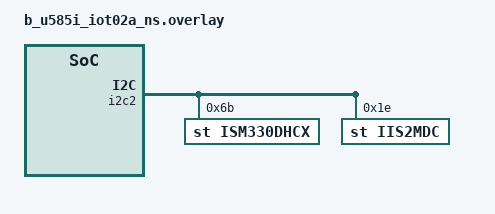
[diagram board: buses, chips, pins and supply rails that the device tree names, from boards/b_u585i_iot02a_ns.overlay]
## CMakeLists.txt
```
#
# Copyright (c) 2021-2023 Linaro Limited
#
# SPDX-License-Identifier: Apache-2.0
#

cmake_minimum_required(VERSION 3.20.0)

# Disable QEMU emulation of the LSM303DLHC magn for now since it requires a specific QEMU build
# if((BOARD MATCHES "mps2_an521") OR (BOARD MATCHES "mps3_an547"))
#   list(APPEND QEMU_EXTRA_FLAGS -device lsm303dlhc_mag,id=lsm303,address=0x1E)
# endif()

find_package(Zephyr REQUIRED HINTS $ENV{ZEPHYR_BASE})

get_target_property(TFM_BINARY_DIR tfm TFM_BINARY_DIR)
set(APP_SOURCE_DIR ${APPLICATION_SOURCE_DIR})
configure_file(
  ${CMAKE_CURRENT_LIST_DIR}/tfm_secure_partitions/tfm_manifest_list.yaml.in
  ${CMAKE_CURRENT_BINARY_DIR}/tfm_secure_partitions/tfm_manifest_list.yaml
  @ONLY
)

set_property(TARGET zephyr_property_target
  APPEND PROPERTY TFM_CMAKE_OPTIONS
  -DTFM_EXTRA_MANIFEST_LIST_FILES=${CMAKE_CURRENT_BINARY_DIR}/tfm_secure_partitions/tfm_manifest_list.yaml
  -DTFM_EXTRA_PARTITION_PATHS=${CMAKE_CURRENT_LIST_DIR}/tfm_secure_partitions
  )

if(${CONFIG_NV_PS_COUNTERS_SUPPORT})
    set_property(TARGET zephyr_property_target
        APPEND PROPERTY TFM_CMAKE_OPTIONS
        -DNV_PS_COUNTERS_SUPPORT=ON -DNV_COUNTER_TRACKER_THRESHOLD_LIMIT=${CONFIG_NV_COUNTER_TRACKER_THRESHOLD_LIMIT} -DTFM_ENABLE_HEAP=ON
        )
endif()

project(tfm_secure_inference)

list(APPEND secure_app_files
  src/cose/cose_verify.c
  src/cose/mbedtls_ecdsa_verify_sign.c
  src/shell/cmd_azure.c
  src/shell/cmd_infer.c
  src/shell/cmd_info.c
  src/shell/cmd_keys.c
  src/shell/shell_common.c
  src/infer_mgmt.c
  src/key_mgmt.c
  src/main.c
  src/certmgr/provision.c
  src/certmgr/test_certs.c
  src/tfm_partition_huk.c
  src/tfm_partition_tflm.c
  src/tfm_partition_utvm.c
  src/util_app_log.c
  src/x509_csr_gen.c
  ext/NanoCBOR/src/decoder.c
  ext/NanoCBOR/src/encoder.c
  src/device_client_tls_key.c
  src/tfm_partition_aat.c
)

if(CONFIG_APP_NETWORKING)
  list(APPEND secure_app_files
    src/azure.c
    src/certmgr/bootstrap.c
    src/network/dhcpwait.c
    src/network/sntp_client.c
    src/network/netmon_mgmt.c
    src/network/netmon_stats.c
    src/certmgr/cert_mgmt.c
  )
endif()

target_sources(app PRIVATE ${secure_app_files})

target_include_directories(app PRIVATE
  ${ZEPHYR_TRUSTED_FIRMWARE_M_MODULE_DIR}/interface/include
  ext/NanoCBOR/include
  include
)

target_compile_definitions(app PRIVATE
  TFM_PARTITION_HUK_KEY_DERIVATION
  TFM_PARTITION_TFLM_SERVICE
  TFM_PARTITION_UTVM_SERVICE
  TFM_PARTITION_AAT_SERVICE
  NANOCBOR_BYTEORDER_HEADER=<zephyr/sys/byteorder.h>
  NANOCBOR_BE64TOH_FUNC=sys_be64_to_cpu
  NANOCBOR_HTOBE64_FUNC=sys_cpu_to_be64
  NANOCBOR_HTOBE32_FUNC=sys_cpu_to_be32
)

# In TF-M, default value of CRYPTO_ENGINE_BUF_SIZE is 0x2080. It causes
# insufficient memory failure while verifying signature. Increase it to 0x2400.
set_property(TARGET zephyr_property_target
             APPEND PROPERTY TFM_CMAKE_OPTIONS
             -DCRYPTO_ENGINE_BUF_SIZE=0x2400
)

# Since the MPS2/MPS3 boards in TF-M use a hard-coded HUK value, we need to
# append a custom label value during key derivation for unique key(s). This
# value is exposed here as a convenience so that west can pass it on to TF-M,
# but is only used in the secure partition(s).
if (CONFIG_SECURE_INFER_HUK_DERIV_LABEL_EXTRA)
  set_property(TARGET zephyr_property_target
              APPEND PROPERTY TFM_CMAKE_OPTIONS
              -DHUK_DERIV_LABEL_EXTRA=${CONFIG_SECURE_INFER_HUK_DERIV_LABEL_EXTRA}
  )
endif()

zephyr_include_directories(${APPLICATION_SOURCE_DIR}/src/tls_config)
```

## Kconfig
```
# Private config options for TF-M secure provisioning application

# Copyright (c) 2021 Linaro
# SPDX-License-Identifier: Apache-2.0

mainmenu "TF-M secure inference sample application"

menu "Application configuration"

module = PSA
module-str = psa
source "subsys/logging/Kconfig.template.log_config"

endmenu

config SECURE_INFER_SHELL_CMD_SUPPORT
	bool "Enable custom shell commands for secure inference"
	depends on SHELL
	help
	  Enabling this option will make secure inference shell commands available.

config SECURE_INFER_HUK_DERIV_LABEL_EXTRA
	string "Supplementary label value to append for key derivation"
	help
	  This string will be appended to the label used when deriving keys from
	  the HUK in the secure HUK service. It is used exclusively by TF-M, but
	  is exposed here for convenience purposes so that the Zephyr build
	  system can pass it through to TF-M.

config APP_NETWORKING
	bool "Enabling support for networking in the secure app"
	select NETWORKING
	help
	  Enable this to add support for networking in the secure demo

config AZURE_SHELL_CMD_SUPPORT
	bool "Enable custom shell commands for Azure"
	depends on SHELL
	help
	  Enabling this option will make shell commands available for
	  controlling communication with the Azure IoT Hub service.

config AZURE_STACK_SIZE
	int "Size of stack for main Azure thread"
	default 4096
	help
	  Size of the stack to be used by the Azure worker thread.  Note that
	  some of the work is done in this thread, and some is done in a worker
	  thread.

config BOOTSTRAP_SERVER_HOST
	string "hostname for bootstrap server"
	help
	  DNS hostname for the bootstrap server.  This is the address
	  provisioning will connect to to retrieve this devices
	  initial provisioning data.

config NV_PS_COUNTERS_SUPPORT
	bool "Protected storage-based NV counter support enables."
	default y
	help
	  Protected storage-based NV counter support enables.

config NV_COUNTER_TRACKER_THRESHOLD_LIMIT
	int "Threshold limit to write current protected storage-based NV counter value to persistent memory."
	default 100
	depends on NV_PS_COUNTERS_SUPPORT
	help
	  Threshold limit to write current protected storage-based NV counter value to persistent memory.

config NETMON_STACK_SIZE
	int "Size of stack for network monitor thread"
	default 4096
	help
	  Size of the stack to be used by the netmon worker thread.

config SNTP_SERVER
	string "SNTP server config to use"
	default "time.google.com"
	help
	  SNTP server to request the current time

config NETMON_STATS
	bool "Enabling support for netmon stats"
	select STATS
	depends on NETWORKING
	depends on APP_NETWORKING
	default false
	help
	  Enable this to add support for netmon stats

config NETMON_SNTP_RESYNC_TIMEBASE
	int "Duration in hours for the net mon worker thread to resync the time with the SNTP server."
	default 24
	help
	  Duration in hours for the net mon worker thread to resync the time with the SNTP server.

config CERT_MGMT_STACK_SIZE
	int "Size of stack for certificate management thread"
	default 4096
	help
	  Size of stack for certificate management thread.

config CERT_REVALIDATE_IN_DAYS
	int "Frequency (in days) to evaluate certificates for renewal."
	default 10
	help
	  How frequently (in days) to check if certificates need to be renewed.

source "Kconfig.zephyr"
```

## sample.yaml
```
sample:
  description: This app demonstrates how to securely send machine learning
    inference data to cloud.
  name: TF-M secure inference example
tests:
  sample.tfm_secure_inference:
    tags: secure inference tfm
    platform_allow: mps2_an521_ns lpcxpresso55s69_ns nrf5340dk_nrf5340_cpuapp_ns
      nrf9160dk_nrf9160_ns nucleo_l552ze_q_ns v2m_musca_s1_ns stm32l562e_dk_ns
      bl5340_dvk_cpuapp_ns
    harness: console
    harness_config:
      type: multi_line
      regex:
        - "[Example partition] Starting secure inferencing"
        - "Model: Sine of 0 deg is"
```

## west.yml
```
# Copyright (c) 2022-2023 Linaro
# SPDX-License-Identifier: Apache-2.0

manifest:
  self:
    path: zephyr_confidential_ai

  remotes:
    - name: zephyrproject-rtos
      url-base: https://github.com/zephyrproject-rtos

  projects:
    - name: zephyr
      remote: zephyrproject-rtos
      revision: 9a759025d9123c7871308173a5fa31657a43a179
      import: true
```

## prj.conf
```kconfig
#
# Copyright (c) 2021-2023 Linaro Limited
#
# SPDX-License-Identifier: Apache-2.0
#

# Logging
CONFIG_LOG=y
CONFIG_LOG_RUNTIME_FILTERING=y
CONFIG_LOG_DEFAULT_LEVEL=3

# TF-M
CONFIG_BUILD_WITH_TFM=y
CONFIG_TFM_IPC=y
CONFIG_TFM_CONNECTION_BASED_SERVICE_API=y
# CONFIG_TFM_CMAKE_BUILD_TYPE_DEBUG=y

# Set the TF-M build profile (default = CONFIG_TFM_PROFILE_TYPE_SMALL)
# CONFIG_TFM_PROFILE_TYPE_LARGE=y
# CONFIG_TFM_PROFILE_TYPE_MEDIUM=y

# Shell commands
CONFIG_SHELL=y
CONFIG_SHELL_HISTORY=y
CONFIG_SHELL_VT100_COLORS=y
CONFIG_SHELL_CMDS=n
CONFIG_SECURE_INFER_SHELL_CMD_SUPPORT=y

# The Zephyr CMSIS emulation assumes that ticks are ms, currently
CONFIG_SYS_CLOCK_TICKS_PER_SEC=1000

# Stack/Heap config
CONFIG_MAIN_STACK_SIZE=8192
CONFIG_HEAP_MEM_POOL_SIZE=4096

# Enable floating point print in Zephyr
CONFIG_PICOLIBC=y
CONFIG_PICOLIBC_IO_FLOAT=y
CONFIG_CBPRINTF_FP_SUPPORT=y

# Mbed TLS
CONFIG_MBEDTLS=y
CONFIG_MBEDTLS_BUILTIN=y
CONFIG_MBEDTLS_ENABLE_HEAP=y
CONFIG_MBEDTLS_HEAP_SIZE=32768
CONFIG_MBEDTLS_SSL_MAX_CONTENT_LEN=10240
CONFIG_MBEDTLS_PEM_CERTIFICATE_FORMAT=y
CONFIG_MBEDTLS_USER_CONFIG_ENABLE=y
CONFIG_MBEDTLS_USER_CONFIG_FILE="user-tls.h"

# ECDSA modes
CONFIG_MBEDTLS_ECP_ALL_ENABLED=y
CONFIG_MBEDTLS_ECDH_C=y
CONFIG_MBEDTLS_ECDSA_C=y
CONFIG_MBEDTLS_ECP_C=y
CONFIG_MBEDTLS_KEY_EXCHANGE_ECDHE_ECDSA_ENABLED=y
CONFIG_MBEDTLS_KEY_EXCHANGE_ECDH_ECDSA_ENABLED=y

# JSON
CONFIG_JSON_LIBRARY=y

# Enforce stack protection.
CONFIG_HW_STACK_PROTECTION=y
CONFIG_MPU_STACK_GUARD=y

# Large for now, but this really shouldn't be this large.
CONFIG_SHELL_STACK_SIZE=8192

# Enable assert
CONFIG_ASSERT=y

# Enable the initial attestation
CONFIG_TFM_PARTITION_INITIAL_ATTESTATION=y
CONFIG_TFM_QCBOR_PATH="DOWNLOAD"
```

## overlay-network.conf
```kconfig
#
# Copyright (c) 2022 Linaro Limited
#
# SPDX-License-Identifier: Apache-2.0
#

CONFIG_APP_NETWORKING=y

# Shell Commands
CONFIG_AZURE_SHELL_CMD_SUPPORT=y
CONFIG_NET_SHELL=y

# NEVER NEVER DO THIS
CONFIG_TEST_RANDOM_GENERATOR=y

# Enable the HTTP client
CONFIG_HTTP_CLIENT=y

# Enable networking
CONFIG_NETWORKING=n
CONFIG_NET_IPV6=n
CONFIG_NET_IPV4=y
CONFIG_NET_IF_MAX_IPV4_COUNT=2
CONFIG_NET_IF_UNICAST_IPV4_ADDR_COUNT=3
CONFIG_NET_TCP=y
CONFIG_NET_SOCKETS=y
CONFIG_NET_SOCKETS_SOCKOPT_TLS=y
CONFIG_NET_DHCPV4=y
CONFIG_SOCKS=n
CONFIG_MQTT_LIB=y
CONFIG_MQTT_LIB_TLS=y
CONFIG_NET_CONFIG_SETTINGS=y
CONFIG_NET_CONNECTION_MANAGER=y
CONFIG_NET_MGMT_EVENT_STACK_SIZE=1024
CONFIG_NET_MGMT_EVENT_QUEUE_SIZE=5
CONFIG_NET_MGMT_EVENT_LOG_LEVEL_DBG=n
CONFIG_NET_CONNECTION_MANAGER_STACK_SIZE=1024
CONFIG_DNS_RESOLVER=y
CONFIG_DNS_RESOLVER_ADDITIONAL_BUF_CTR=2
CONFIG_NET_BUF_RX_COUNT=72
CONFIG_NET_BUF_TX_COUNT=72
# CONFIG_NET_BUF_DATA_SIZE=512

# The net layer needs bigger stacks if we log messages.
CONFIG_NET_RX_STACK_SIZE=2500
CONFIG_NET_TX_STACK_SIZE=2500

# Increased workqueue stack needed for TLS.
CONFIG_SYSTEM_WORKQUEUE_STACK_SIZE=2048

CONFIG_TLS_MAX_CREDENTIALS_NUMBER=8

# Enable Logging support
CONFIG_NET_LOG=n
CONFIG_NET_TCP_LOG_LEVEL_DBG=n
CONFIG_NET_SOCKETS_LOG_LEVEL_DBG=n
CONFIG_MQTT_LOG_LEVEL_DBG=n
CONFIG_NET_DHCPV4_LOG_LEVEL_INF=n
CONFIG_NET_IF_LOG_LEVEL_DBG=y
CONFIG_MBEDTLS_DEBUG=y
CONFIG_MBEDTLS_LOG_LEVEL_DBG=n
CONFIG_MBEDTLS_LOG_LEVEL_ERR=y
CONFIG_SOCKS_LOG_LEVEL_DBG=n
CONFIG_NET_CONFIG_LOG_LEVEL_DBG=n
CONFIG_NET_CONNECTION_MANAGER_LOG_LEVEL_DBG=n
CONFIG_DNS_RESOLVER_LOG_LEVEL_DBG=n
CONFIG_NET_CONTEXT_LOG_LEVEL_DBG=n
CONFIG_ETHERNET_LOG_LEVEL_ERR=y

# MbedTLS ECDSA support
CONFIG_MBEDTLS_ECP_ALL_ENABLED=y
CONFIG_MBEDTLS_ECDH_C=y
CONFIG_MBEDTLS_ECDSA_C=y
CONFIG_MBEDTLS_ECP_C=y
CONFIG_MBEDTLS_KEY_EXCHANGE_ECDHE_ECDSA_ENABLED=y
CONFIG_MBEDTLS_KEY_EXCHANGE_ECDH_ECDSA_ENABLED=y

# SNTP support
CONFIG_SNTP=y

# POSIX clock support
CONFIG_POSIX_CLOCK=y

# Netmon stats support
CONFIG_NETMON_STATS=y

# MBEDTLS time support
CONFIG_MBEDTLS_HAVE_TIME_DATE=y
```

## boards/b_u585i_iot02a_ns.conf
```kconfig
CONFIG_I2C=y
CONFIG_I2C_SHELL=y
CONFIG_SHELL=y
CONFIG_SENSOR=y
CONFIG_ISM330DHCX=y
CONFIG_IIS2MDC=y
CONFIG_IIS2MDC_TRIGGER_NONE=y 
```

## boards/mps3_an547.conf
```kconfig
CONFIG_I2C=y
CONFIG_I2C_SHELL=y
CONFIG_LSM303DLHC_MAGN=y
```

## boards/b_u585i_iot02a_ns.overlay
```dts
/*
 * Copyright (c) 2022 Linaro Limited
 *
 * SPDX-License-Identifier: Apache-2.0
 */
/delete-node/ &slot0_partition;
/delete-node/ &slot1_partition;

&flash0 {
	partitions {
		/* Secure image primary slot */
		slot0_partition: partition@34000 {
			label = "image-0";
			reg = <0x00034000 0x00060000>;
		};
		/* Non-secure image primary slot */
		slot1_partition: partition@94000 {
			label = "image-1-nonsecure";
			reg = <0x00094000 0x00060000>;
		};
	};
};

&i2c2 {
	status = "okay";

	board_imu: ism330dhcx@6b {
		compatible = "st,ism330dhcx";
		reg = <0x6B>;
		label = "ISM330DHCX";
	};

	board_mag: iis2mdc@1e {
		compatible = "st,iis2mdc";
		reg = <0x1E>;
		label = "IIS2MDC";
	};
};
```

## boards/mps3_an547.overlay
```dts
/*
 * Copyright (c) 2021 Linaro Limited
 *
 * SPDX-License-Identifier: Apache-2.0
 */

 &i2c_shield1 {
	lsm303dlhc-magn@1e {
		compatible = "st,lsm303dlhc-magn";
		reg = <0x1e>;
		label = "LSM303DLHC-MAGN";
	};
};
```

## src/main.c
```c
/*
 * Copyright (c) 2021-2023 Linaro Limited
 *
 * SPDX-License-Identifier: Apache-2.0
 */

#include <zephyr/kernel.h>
#include <zephyr/logging/log_ctrl.h>
#include <zephyr/logging/log.h>

#include "key_mgmt.h"
#include "infer_mgmt.h"
#include "util_app_log.h"
#include "dhcpwait.h"

/** Declare a reference to the application logging interface. */
LOG_MODULE_DECLARE(app, CONFIG_LOG_DEFAULT_LEVEL);

int main(void)
{
	psa_status_t status;
	unsigned char uuid[37];

	/* Initialise the logger subsys and dump the current buffer. */
	log_init();

#ifdef CONFIG_APP_NETWORKING
	/* Initialize the system that waits for networking to come up.
	 * */
	init_dhcp_wait();
#endif

	/* Initialise references to derived keys (required once before use!). */
	km_keys_init();

	/* Initialise references to the inference engine and models. */
	infer_init();

	/* Derive the device UUID, which will cache it for later requests. */
	status = al_psa_status(km_get_uuid(uuid, sizeof(uuid)), __func__);
	if (status != PSA_SUCCESS) {
		LOG_ERR("Unable to read UUID.");
	}

	return status;
}
```

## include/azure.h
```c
/*
 * Copyright (c) 2022 Linaro Limited
 *
 * SPDX-License-Identifier: Apache-2.0
 */

#ifndef AZURE_H__
#define AZURE_H__

void start_azure_service(void);
void stop_azure_service(void);

#endif /* not AZURE_H__ */
```

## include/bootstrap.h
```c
/*
 * Copyright (c) 2022 Linaro Limited
 *
 * SPDX-License-Identifier: Apache-2.0
 */

#ifndef __BOOTSTRAP_H__
#define __BOOTSTRAP_H__

/**
 * @brief The context for bootstrap REST requests.
 */
struct bootstrap {
	int sock;
};

/**
 * @brief Open a connection to the bootstrap server.
 *
 * Note that this function is not reentrant, as some of the
 * initialization needs to be performed once, and this is not
 * protected.  If use from multiple threads is needed, this will need
 * to include a locking mechanism.
 *
 * @return 0 for success, or a negative errno
 */
int bootstrap_open(struct bootstrap *ctx);

/**
 * @brief Close a CA server connection.
 *
 * @return 0 for success, or a negative errno
 */
int bootstrap_close(struct bootstrap *ctx);

/**
 * @brief The context needed for the CSR request.
 *
 * All fields are private.  The struct is exposed because the caller
 * is responsible for the allocation of this data.
 */
struct csr_req {
	uint8_t uuid[37];
	uint8_t cbor[1024];
	size_t cbor_len;
};

/**
 * @brief Perform a CSR request for the given key
 *
 * @return 0 for success, or a negative errno
 */
int bootstrap_csr(struct bootstrap *ctx, struct csr_req *req, uint8_t key_idx);

/**
 * @brief Request service configuration
 *
 * @return 0 for success, or negative errno
 */
int bootstrap_service(struct bootstrap *ctx);

#endif /* not __BOOTSTRAP_H__ */
```

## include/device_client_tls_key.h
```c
/*
 * Copyright (c) 2022-2023 Linaro Limited
 *
 * SPDX-License-Identifier: Apache-2.0
 */
#include "key_mgmt.h"

#define KEY_LEN_BYTES 32

/* This macro appends an optional SECURE_INFER_HUK_DERIV_LABEL_EXTRA config string to the
 * label used for key derivation, enabling key diversity during testing
 * on emulated platforms with a fixed HUK value.
 */
#define LABEL_CONCAT(A) #A CONFIG_SECURE_INFER_HUK_DERIV_LABEL_EXTRA
#define LABEL    LABEL_CONCAT(_EC_PRIV_KEY)
#define LABEL_UUID  LABEL_CONCAT(UUID)

/**
 * @brief Setup the device client TLS key.
 *
 * @param ctx   Pointer to the key context.
 */
void device_client_tls_key_init(struct km_key_context *ctx);
```

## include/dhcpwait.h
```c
/*
 * Copyright (c) 2022-2023 Linaro Limited
 *
 * SPDX-License-Identifier: Apache-2.0
 */

#ifndef __DHCPWAIT_H__
#define __DHCPWAIT_H__

/**
 * @brief Setup the dhcp waiter, registering callbacks that will wake up
 * anyone waiting for network availability.
 */
void init_dhcp_wait(void);

/**
 * @brief Wait for networking to be ready.  This can be called by as many
 * threads as desired.
 */
void await_dhcp(void);

/**
 * @brief Check the network state.
 *
 * @return True if the network is up.
 *         False if the network is down.
 */
bool is_dhcp_up(void);

#endif /* not __DHCPWAIT_H__ */
```

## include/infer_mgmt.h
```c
/*
 * Copyright (c) 2022 Linaro Limited
 *
 * SPDX-License-Identifier: Apache-2.0
 */

#ifndef INFER_MGMT_H
#define INFER_MGMT_H

#include <zephyr/kernel.h>
#include <psa/error.h>
#include "key_mgmt.h"

/* Inference encoded buffer maximum supported size */
#define INFER_ENC_MAX_VALUE_SZ (256)

/** Define the index for the model in the model context array. */
typedef enum {
	INFER_MODEL_TFLM_SINE = 0,              /**< TFLM sine inference model */
	INFER_MODEL_UTVM_SINE,                  /**< UTVM sine inference model */
	INFER_MODEL_COUNT,                      /**< Number of models present */
} infer_model_idx_t;

/** Inidicates inference model status. */
typedef enum {
	INFER_MODEL_STS_NOT_ACTIVE = 0,         /**< Inference model is inactive. */
	INFER_MODEL_STS_ACTIVE,                 /**< Inference model is active */
	INFER_MODEL_STS_NONE,
} infer_model_sts_t;

typedef struct {
	uint32_t sid;
	char sid_label[32];
	uint32_t version;
	infer_model_sts_t sts;
} infer_ctx_t;

/** Encoding format requested for the inference output. */
typedef enum {
	INFER_ENC_CBOR = 0,             /**< Request a simple CBOR payload. */
	INFER_ENC_COSE_SIGN1,           /**< Request a COSE SIGN1 payload. */
	INFER_ENC_COSE_ENCRYPT0,        /**< Request a COSE ENCRYPT0 payload. */
	INFER_ENC_NONE,
} infer_enc_t;

/* Inference config */
typedef struct {
	infer_enc_t enc_format;
	char models[32];
} infer_config_t;

/**
 * @brief Get the inference value from the supplied CBOR, COSE SIGN1, or COSE
 * ENCRYPT0 payload.
 *
 * @param enc_fmt            Inference output encoded format.
 * @param infval_enc_buf     Buffer containing the COSE payload to read the
 *                           inference value from.
 * @param infval_enc_buf_len Size of infval_enc_buf.
 * @param out_val            Inference value.
 *
 * @return psa_status_t
 */
psa_status_t infer_get_value(infer_enc_t enc_fmt,
			     uint8_t *infval_enc_buf,
			     size_t infval_enc_buf_len,
			     float *out_val);

/**
 * @brief Requests the TFLM inference engine to generate an output value.
 *
 * @param enc_format           Inference output encoding format.
 * @param model                Pointer to the buffer stores model info.
 * @param input                The input parameter.
 * @param input_size           The input parameter size in bytes.
 * @param infval_enc_buf       Buffer for the COSE-encoded output.
 * @param inf_val_enc_buf_size Size of infval_enc_buf.
 * @param infval_enc_buf_len   Bytes written by the secure function.
 *
 * @return psa_status_t
 */
psa_status_t infer_get_tflm_cose_output(infer_enc_t enc_format,
					const char *model,
					void  *input,
					size_t input_size,
					uint8_t *infval_enc_buf,
					size_t inf_val_enc_buf_size,
					size_t *infval_enc_buf_len);

/**
 * @brief Requests the UTVM inference engine to generate an output value.
 *
 * @param enc_format           Inference output encoding format.
 * @param model                Pointer to the buffer stores model info.
 * @param input                The input parameter.
 * @param input_size           The input parameter size in bytes.
 * @param infval_enc_buf       Buffer for the COSE-encoded output.
 * @param inf_val_enc_buf_size Size of infval_enc_buf.
 * @param infval_enc_buf_len   Bytes written by the secure function.
 *
 * @return psa_status_t
 */
psa_status_t infer_get_utvm_cose_output(infer_enc_t enc_format,
					const char *model,
					void  *input,
					size_t input_size,
					uint8_t *infval_enc_buf,
					size_t inf_val_enc_buf_size,
					size_t *infval_enc_buf_len);

/**
 * @brief Function pointer to represent inference engine function call
 * (infer_get_tflm_cose_output or infer_get_utvm_cose_output) used in shell
 * infer command calls.
 *
 * @param enc_format           Inference output encoding format.
 * @param model                Pointer to the buffer stores model info.
 * @param input                The input parameter.
 * @param input_size           The input parameter size in bytes.
 * @param infval_enc_buf       Buffer for the COSE-encoded output.
 * @param inf_val_enc_buf_size Size of infval_enc_buf.
 * @param infval_enc_buf_len   Bytes written by the secure function.
 *
 * @return psa_status_t
 */
typedef psa_status_t (*infer_get_cose_output)(infer_enc_t enc_format,
					      const char *model,
					      void  *input,
					      size_t input_size,
					      uint8_t *infval_enc_buf,
					      size_t infval_enc_buf_size,
					      size_t *infval_enc_buf_len);

/**
 * @brief Get the inference model context
 *
 * @return Returns pointer to the inference model context
 */
infer_ctx_t *infer_context_get(void);

/**
 * @brief Initialise the inference engine context to interact with the
 *        secure inference service. This allows us to send requests to any
 *        models available in the secure partition.
 */
void infer_init(void);

#endif /* INFER_MGMT_H */
```

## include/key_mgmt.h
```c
/*
 * Copyright (c) 2022 Linaro Limited
 *
 * SPDX-License-Identifier: Apache-2.0
 */

#ifndef KEY_MGMT_H
#define KEY_MGMT_H

#include "psa/crypto.h"

#define EC_PUBLIC_PEM_BEGIN          "-----BEGIN PUBLIC KEY-----\n"
#define EC_PUBLIC_PEM_END             "-----END PUBLIC KEY-----\n"

/** EC public keys are 65 bytes. */
#define KM_PUBLIC_KEY_SIZE (65)

/** EC private keys are 32 bytes, but encoded in ASN.1 */
#define KM_PRIVATE_KEY_SIZE (2 + 3 + 2 + 32 + 12)

/** Maximum X.509 certificate size in bytes. */
#define KM_CERT_MAX_SIZE (1024)

/** Define the index for the key in the key context array. */
enum km_key_idx {
	KEY_CLIENT_TLS = 0,             /**< TLS client key ID */
	KEY_COSE,                       /**< COSE SIGN/Encrypt key ID */
	KEY_COUNT,                      /**< Number of keys present */
};

/** Inidicates key provisioning status. */
enum km_key_stat {
	KEY_NONE = 0,
	KEY_GEN,                /**< Key generated */
	KEY_X_509_CERT_GEN,     /**< X.509 certificate generated */
};

/** ID in the HUK key derivation service for the specified key. */
enum km_key_type {
	KEY_ID_CLIENT_TLS       = 0x5001,       /**< Client TLS key ID */
	KEY_ID_COSE             = 0x5002,       /**< COSE SIGN/Encrypt key ID */
};

/** Key context. */
struct km_key_context {
	/** PSA Crypto key ID. */
	psa_key_id_t key_id;
	/** Display name. */
	char label[32];
	/** Key status, indicate if a certificate is available. */
	enum km_key_stat status;
	/** For local converted keys, the real private key is kept here, so that
	 * we can use it locally. */
	uint8_t local_private[KM_PRIVATE_KEY_SIZE];
	/** Used bytes of this local private key. */
	size_t local_private_len;
	/** PSA Crypto key handle for the key in the secure domain. */
	psa_key_handle_t key_handle;
};

/** X.509 certificate context. */
struct km_x509_cert {
	/** Size of the cert payload in bytes. 0 if NULL. */
	size_t sz;
	/** X.509 certificate payload. Max 1 KB. */
	char cert[KM_CERT_MAX_SIZE];
};

/**
 * @brief Get the HUK-derived UUID from the secure partition.
 *
 * @param uuid       Pointer to the buffer to store the UUID.
 * @param uuid_size  Size of UUID buffer.
 *
 * @return psa_status_t
 */
psa_status_t km_get_uuid(unsigned char *uuid, size_t uuid_size);

/**
 * @brief Get the public key from the HUK-derived key on the secure partition.
 *
 * @param public_key      Pointer to the buffer to store the public key.
 * @param public_key_len  Public key buffer length.
 * @param key_idx         Key context index.
 *
 * @return psa_status_t
 */
psa_status_t km_get_pubkey(uint8_t *public_key,
			   size_t public_key_len,
			   const enum km_key_idx key_idx);

/**
 * @brief Gets a reference to the struct km_key_context array in memory. The data this
 *        pointer references is NULL-initialised by default, and needs to be
 *        initialised before it can be used.
 *
 * @return Returns a pointer to the key context array
 */
struct km_key_context *km_get_context(enum km_key_idx key_idx);

/**
 * @brief Initialise the key context with the EC keys derived from the HUK at
 *        secure boot. This provides us with the key handles required to
 *        request the public key, or to request operations based on these
 *        keys.
 */
void km_keys_init(void);

/**
 * @brief Encode the public key to PEM format.
 *
 * @param key_idx      Key context index.
 * @param public_key   Pointer to the buffer to store public key in PEM format.
 * @param public_key_size The size in bytes of @p public_key buffer.
 * @param public_key_len  The size in bytes of encoded length.
 *
 * @return psa_status_t
 */
psa_status_t km_enc_pubkey_pem(const enum km_key_idx key_idx,
			       uint8_t *public_key,
			       size_t public_key_size,
			       size_t *public_key_len);

/**
 * @brief Encode the public key to DER format.
 *
 * @param key_idx      Key context index.
 * @param public_key   Pointer to the buffer to store public key in DER format.
 * @param public_key_size The size in bytes of @p public_key buffer.
 * @param public_key_len  The size in bytes of encoded length.
 *
 * @return psa_status_t
 */
psa_status_t km_enc_pubkey_der(const enum km_key_idx key_idx,
			       unsigned char *public_key,
			       size_t public_key_size,
			       size_t *public_key_len);

/**
 * @brief Set the key status.
 *
 * @param key_idx  Key context index.
 * @param sts      Set status on the key context.
 *
 */
void km_set_key_status(enum km_key_idx idx,
                       enum km_key_stat sts);
#endif /* KEY_MGMT_H */
```

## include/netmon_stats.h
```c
/*
 * Copyright (c) 2023 Linaro Limited
 *
 * SPDX-License-Identifier: Apache-2.0
 */

#include <stdbool.h>

#if defined(CONFIG_NETMON_STATS)
#include <zephyr/stats/stats.h>

STATS_SECT_START(netmon)
STATS_SECT_ENTRY32(dhcp_up)
STATS_SECT_ENTRY32(dhcp_down)
STATS_SECT_ENTRY32(sntp_time_sync_count)
STATS_SECT_ENTRY32(sntp_time_req_count)
STATS_SECT_END;

STATS_NAME_START(netmon)
STATS_NAME(netmon, dhcp_up)
STATS_NAME(netmon, dhcp_down)
STATS_NAME(netmon, sntp_time_sync_count)
STATS_NAME(netmon, sntp_time_req_count)
STATS_NAME_END(netmon);
#else
struct stats_netmon {
};
#endif /* CONFIG_NETMON_STATS */

struct stats_netmon *get_netmon_stats_inst();

static inline void netmon_sntp_time_sync_call_stats(struct stats_netmon *stats)
{
#if defined(CONFIG_NETMON_STATS)
	STATS_INC(*stats, sntp_time_sync_count);
#else
	(void)(stats);
#endif
}

static inline void netmon_sntp_time_req_count_stats(struct stats_netmon *stats)
{
#if defined(CONFIG_NETMON_STATS)
	STATS_INC(*stats, sntp_time_req_count);
#else
	(void)(stats);
#endif
}

static inline void netmon_dhcp_stats(bool net_sts, struct stats_netmon *stats)
{
#if defined(CONFIG_NETMON_STATS)
	if (net_sts) {
		STATS_INC(*stats, dhcp_up);
	} else {
		STATS_INC(*stats, dhcp_down);
	}
#else
	(void)(net_sts);
	(void)(stats);
#endif
}

static inline void netmon_stats_init()
{
#if defined(CONFIG_NETMON_STATS)
	struct stats_netmon *stats = get_netmon_stats_inst();

	stats_init(&stats->s_hdr, STATS_SIZE_32, 4, STATS_NAME_INIT_PARMS(netmon));
	stats_register("Netmon", &(stats->s_hdr));
#endif
}
```

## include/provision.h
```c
/*
 * Copyright (c) 2022 Linaro Limited
 *
 * SPDX-License-Identifier: Apache-2.0
 */

#ifndef __PROVISION_H__
#define __PROVISION_H__

#include <zephyr/kernel.h>

#include "psa/error.h"
#include "key_mgmt.h"

#ifdef __cplusplus
extern "C" {
#endif

/**
 * @brief Base for persistent storage used by this app.
 */
#define APP_PS_BASE  0x3e28e8993c690000

/** Device certificate.  Returned from CA server.
 */
#define APP_PS_TLS_CERT (APP_PS_BASE)

/** COSE key certificate.  Returned from CA server.
 */
#define APP_PS_COSE_CERT (APP_PS_BASE + 0x0001)

/** MQTT Broker hub name.  Stored as a string.
 */
#define APP_PS_HUBNAME (APP_PS_BASE + 0x0002)

/** MQTT Broker port.  Stored as a uint16_t.
 */
#define APP_PS_HUBPORT (APP_PS_BASE + 0x0003)

/** Enum describing which fields are populated.
 */
enum provision_present {
        PROVISION_NOT_DONE = 0,
	PROVISION_TLS_CERT = 1 << 0,
	PROVISION_HUBNAME = 1 << 1,
	PROVISION_HUBPORT = 1 << 2,
	PROVISION_COSE_CERT = 1 << 3,
};

/** Bits for all provision data. */
#define ALL_PROVISION_DATA (PROVISION_TLS_CERT | PROVISION_HUBNAME | PROVISION_HUBPORT \
			    | PROVISION_COSE_CERT)

/** Mask for provisioning data needed to speak with the MQTT TLS
 * server. */
#define PROV_MASK_TLS (PROVISION_TLS_CERT | PROVISION_HUBNAME | PROVISION_HUBPORT)

/**
 * @brief Provisioning data.
 *
 * Represents the device provisioned data.  The pointers point to data outside
 * of this struct, which for cbor fetched data points to the original buffer,
 * and for data retrieved from persistent storage, allocated from a buffer.
 *
 * Not all of the data may be present, and `present` indicates
 * which fields are populated.
 */
struct provision_data {
	/** Bits that indicate which fields are populated in the
	 * struct. */
	enum provision_present present;
        /** The TLS client certificate, as signed by the CA.  Encoded in DER format. */
        const uint8_t *tls_cert_der;
        /** The length of the certificate, in bytes. */
        size_t tls_cert_der_len;
	/** The COSE client certificate, as signed by the CA.  Encoded in DER format. */
	const uint8_t *cose_cert_der;
	/** The length of the COSE certificate, in bytes. */
	size_t cose_cert_der_len;
        /** The name of the Azure IoT hub used by this device.  This string will
         * be NULL terminated when retrieved from storage, but is not
         * necessarily terminated when fetched from CBOR. */
        const char *hubname;
        /** The length, in bytes, of the hubname. */
        size_t hubname_len;
        /** The port used to contact the MQTT server. */
        uint16_t hubport;
};

/**
 * @brief Wait until provisioning data is available.
 *
 * Blocks the caller until we have provisioning data available.  If the
 * provisioning has already been aquired, and is stored in persistent storage,
 * returns immediately.  Otherwise, will block until the bootstrap server has
 * returned this information.
 */
int provision_wait(enum provision_present mask);

/**
 * @brief Set or create provisioning data.
 *
 * Stores the given provisioning data in persistent storage.  The pointers are
 * assumed to be held in something like a CBOR buffer, and will not outlive this
 * call.
 */
int provision_store(const struct provision_data *prov);

/**
 * @brief Read provisioning data.
 *
 * Attempts to read the provisioning data from non-volatile storage.  The
 * variable-sized entries will be placed into #buf, which has #buf_len bytes of
 * space available.
 *
 * @return If the buffer is not large enough to contain the results, will return
 * -ENOSPC.  If the persistent storage values are not present, will return
 * -ENOENT.  Otherwise returns the number of bytes of #buf that were used.
 */
int provision_get(struct provision_data *prov, char *buf, size_t buf_len);

#ifdef __cplusplus
}
#endif

#endif /* not __PROVISION_H__ */
```

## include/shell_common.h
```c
/*
 * Copyright (c) 2022 Linaro Limited
 *
 * SPDX-License-Identifier: Apache-2.0
 */

#ifndef SHELL_COMMON_H
#define SHELL_COMMON_H

#include <zephyr/shell/shell.h>

/**
 * @brief Helper utility function to print the invalid argument error message
 * with arg_name and return invalid error code.
 *
 * @param       shell     Shell instance
 * @param       arg_name  String to print on the shell console.
 *
 * @return -EINVAL
 */
int
shell_com_invalid_arg(const struct shell *shell, char *arg_name);

/**
 * @brief Helper utility function to print the too many arguments error
 * message with arg_name and return invalid error code.
 *
 * @param       shell     Shell instance
 * @param       arg_name  String to print on the shell console.
 *
 * @return -EINVAL
 */
int
shell_com_too_many_arg(const struct shell *shell, char *arg_name);

/**
 * @brief Helper utility function to print the missing argument error
 * message with arg_name and return invalid error code.
 *
 * @param       shell     Shell instance
 * @param       arg_name  String to print on the shell console.
 *
 * @return -EINVAL
 */
int
shell_com_missing_arg(const struct shell *shell, char *arg_name);

/**
 * @brief Helper utility function to print the error and arg_name and return
 * invalid error code.
 *
 * @param       shell     Shell instance
 * @param       error     String to print on the shell console.
 * @param       rc        Error status code to print on the shell console with
 *                        @p error.
 *
 * @return -EINVAL
 */
int
shell_com_rc_code(const struct shell *shell, char *error, int rc);

/**
 * @brief Helper utility function to convert string to float.
 *
 * @param       str     Pointer to a stored buffer of string.
 * @param       value   Value to store the converted string to float value.
 *
 * @return true  Succesful conversion
 *         false Unsuccessful conversion
 */
_Bool shell_com_str_to_float(char *str, float *value);

/**
 * @brief Helper utility function to convert string to float, validate the
 * converted value in the range between min to max.
 *
 * @param       str     Pointer to a stored buffer of string.
 * @param       value   Value to store the converted string to float value.
 * @param       min     Minimum value.
 * @param       max     Maximum value.
 *
 * @return true  Succesful conversion
 *         false Unsuccessful conversion or invalid range
 */
_Bool
shell_com_str_to_float_min_max(char *str, float *value, float min, float max);

#endif /* SHELL_COMMON_H */
```

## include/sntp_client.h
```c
/*
 * Copyright (c) 2023 Linaro Limited
 *
 * SPDX-License-Identifier: Apache-2.0
 */

#include <zephyr/net/sntp.h>
#include <time.h>
#include <mbedtls/platform_time.h>

/**
 * @brief Initialize the SNTP client and
 * store elapsed real time since the system booted in
 * milliseconds from 1st Jan 1970.
 */
void sntp_client_init();

/**
 * @brief Get the time from SNTP server and resync the time base.
 */
void sntp_resync_time();

/**
 * @brief Utility helps to get the current date and time.
 *
 * @param info   Pointer to store the date and time info to time
 * management structure.
 */
void get_current_date_time(struct tm *info);

/**
 * @brief Check the SNTP client initialization.
 *
 * @return True if the SNTP client is initialized.
 *         False if the SNTP client is not initialized.
 */
bool is_sntp_init_done();
```

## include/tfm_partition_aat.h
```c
/*
 * Copyright (c) 2023 Linaro Limited
 *
 * SPDX-License-Identifier: Apache-2.0
 */
#ifndef __TFM_PARTITION_AAT_H__
#define __TFM_PARTITION_AAT_H__

#include "tfm_api.h"

#ifdef __cplusplus
extern "C" {
#endif

/**
 * \brief Create Application Attestation Token (AAT) with claim data of TFLM and UTVM
 * version plus it's model version.
 *
 * \param[out]  encoded_buf       Buffer to which encoded data is written into.
 * \param[in]   encoded_buf_size  Size of encoded_buf in bytes.
 * \param[out]  encoded_buf_len   Encoded and signed payload len in bytes.
 *
 * \return Returns error code as specified in \ref psa_status_t
 */
psa_status_t psa_aat(uint8_t *encoded_buf, size_t encoded_buf_size, size_t *encoded_buf_len);

#ifdef __cplusplus
}
#endif

#endif /* __TFM_PARTITION_AAT_H__ */
```

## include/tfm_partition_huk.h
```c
/*
 * Copyright (c) 2021-2023 Linaro Limited
 *
 * SPDX-License-Identifier: Apache-2.0
 */
#ifndef __TFM_PARTITION_HUK_H__
#define __TFM_PARTITION_HUK_H__

#include "tfm_api.h"
#include "psa/crypto.h"
#include "key_mgmt.h"

#ifdef __cplusplus
extern "C" {
#endif

/**
 * \brief Get the public key from HUK export public key service
 *
 * \param[in] key_id           EC key id for persistent key
 * \param[in] ec_pk_data       Buffer to which exported public key
 *                                     is written into
 * \param[in] ec_pk_data_size  Size of ec_pk_data in bytes
 *
 * \return Returns error code as specified in \ref psa_status_t
 */
psa_status_t psa_huk_get_pubkey(psa_key_id_t *key_id, uint8_t *ec_pk_data, size_t ec_pk_data_size);

/**
 * \brief Get the EC key status from HUK EC key status secure service
 *
 * \param[in] key_id     EC key id for persistent key
 * \param[in] stat       Pointer to the buffer to store the key status
 * \param[in] set_status Boolean value to select a set/get the key status.
 *
 * \return Returns error code as specified in \ref psa_status_t
 */
psa_status_t psa_huk_ec_key_stat(psa_key_id_t *key_id, enum km_key_stat *stat, _Bool set_status);

/**
 * \brief Get the UUID from HUK generate UUID service
 *
 * \param[out] uuid          Buffer to write UUID
 * \param[in] uuid_size      Size of UUID buffer
 *
 * \return A status indicating the success/failure of the operation
 */
psa_status_t psa_huk_get_uuid(void *uuid, size_t uuid_size);

/**
 * @brief Calculate the SHA256 hash value of the given CSR payload and sign the hash
 * value using the private key of the given key ID.
 *
 * @param key_id         Key ID.
 * @param csr_data       Pointer to the buffer to store CSR.
 * @param csr_data_size  The size in bytes of @p csr_data.
 * @param sig            Pointer to the buffer to store Signature.
 * @param sig_size       The size in byters of @p sig.
 * @param sig_len        The Signed CSR hash len in bytes.
 *
 * @return psa_status_t
 */
psa_status_t psa_huk_hash_sign(psa_key_id_t *key_id, uint8_t *csr_data, size_t csr_data_size,
			       uint8_t *sig, size_t sig_size, size_t *sig_len);

#ifdef __cplusplus
}
#endif

#endif /* __TFM_PARTITION_HUK_H__ */
```
